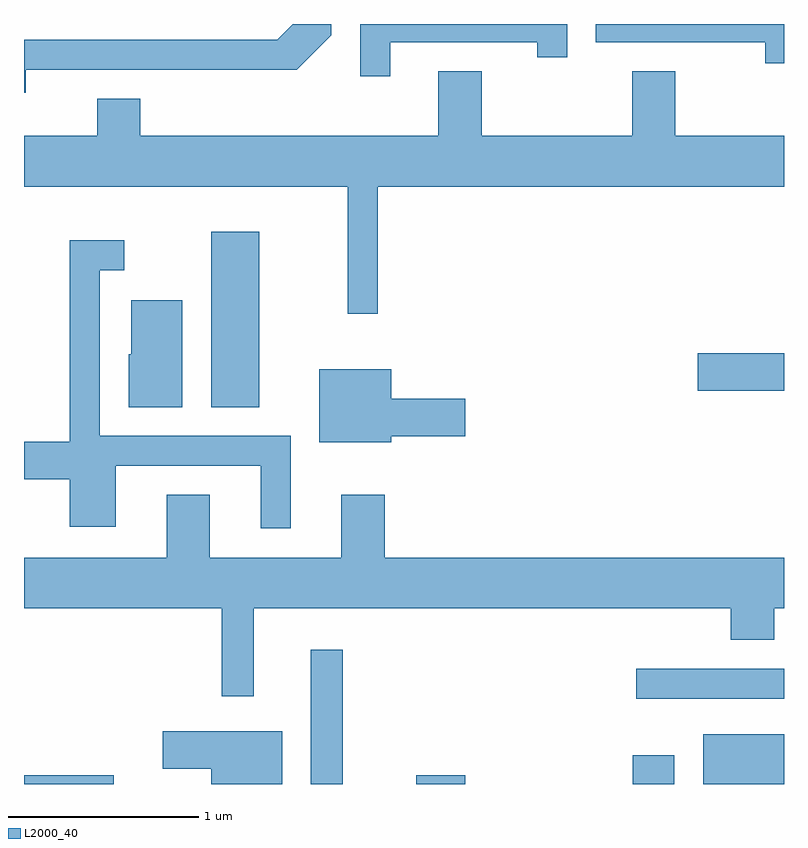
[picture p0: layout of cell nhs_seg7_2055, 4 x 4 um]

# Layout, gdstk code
import gdstk
lib = gdstk.Library(unit=1e-6, precision=1e-09)
def R(c, l, rs):  # rectangles x0, y0, x1, y1
    for r in rs: c.add(gdstk.rectangle(r[:2], r[2:], *l))
def P(c, l, *ps):  # polygons
    for p in ps: c.add(gdstk.Polygon(p, *l))
L2000_40 = (2000, 40)

nhs_seg7_2055 = lib.new_cell('nhs_seg7_2055')
R(nhs_seg7_2055, L2000_40, [(247.611,1742.252,248.084,1742.299), (249.121,1742.252,249.289,1742.958), (249.676,1742.252,249.934,1742.299), (250.816,1742.252,251.034,1742.404), (251.186,1742.252,251.611,1742.514), (250.833,1742.701,251.611,1742.859), (248.596,1744.236,248.849,1745.159), (251.156,1744.321,251.611,1744.519)])
P(nhs_seg7_2055, L2000_40, [(247.619,1746.011),(249.047,1746.011),(249.229,1746.194),(249.229,1746.252),(249.026,1746.252),(248.944,1746.169),(247.611,1746.169),(247.611,1745.891),(247.619,1745.891)],
  [(249.539,1746.156),(250.311,1746.156),(250.311,1746.078),(250.469,1746.078),(250.469,1746.252),(249.381,1746.252),(249.381,1745.978),(249.539,1745.978)],
  [(251.611,1746.252),(250.621,1746.252),(250.621,1746.156),(251.511,1746.156),(251.511,1746.046),(251.611,1746.046)],
  [(249.474,1745.396),(251.611,1745.396),(251.611,1745.664),(251.039,1745.664),(251.039,1746.004),(250.811,1746.004),(250.811,1745.664),(250.019,1745.664),(250.019,1746.004),(249.791,1746.004),(249.791,1745.664),(248.224,1745.664),(248.224,1745.859),(247.996,1745.859),(247.996,1745.664),(247.611,1745.664),(247.611,1745.396),(249.316,1745.396),(249.316,1744.728),(249.474,1744.728)],
  [(249.014,1744.084),(248.009,1744.084),(248.009,1744.956),(248.138,1744.956),(248.138,1745.114),(247.851,1745.114),(247.851,1744.054),(247.611,1744.054),(247.611,1743.856),(247.851,1743.856),(247.851,1743.606),(248.094,1743.606),(248.094,1743.926),(248.856,1743.926),(248.856,1743.598),(249.014,1743.598)],
  [(248.444,1744.799),(248.176,1744.799),(248.176,1744.515),(248.161,1744.515),(248.161,1744.236),(248.444,1744.236)],
  [(249.544,1744.081),(249.934,1744.081),(249.934,1744.279),(249.544,1744.279),(249.544,1744.434),(249.166,1744.434),(249.166,1744.051),(249.544,1744.051)],
  [(248.819,1743.176),(251.331,1743.176),(251.331,1743.011),(251.559,1743.011),(251.559,1743.176),(251.611,1743.176),(251.611,1743.444),(249.509,1743.444),(249.509,1743.774),(249.281,1743.774),(249.281,1743.444),(248.589,1743.444),(248.589,1743.774),(248.361,1743.774),(248.361,1743.444),(247.611,1743.444),(247.611,1743.176),(248.651,1743.176),(248.651,1742.713),(248.819,1742.713)],
  [(248.969,1742.529),(248.341,1742.529),(248.341,1742.331),(248.596,1742.331),(248.596,1742.252),(248.969,1742.252)])

lib.write_gds('nhs_seg7_2055.gds')
